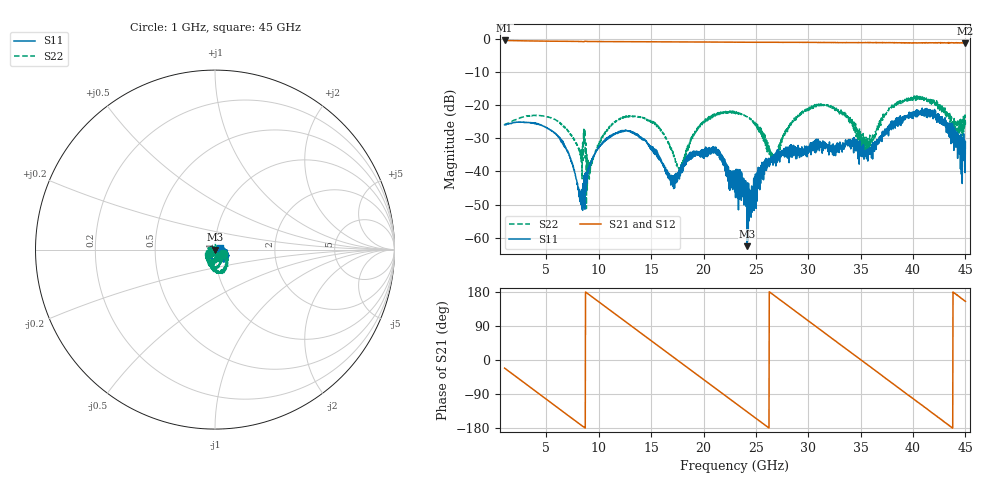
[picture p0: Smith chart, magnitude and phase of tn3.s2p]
!Keysight Technologies,N5247B,MY61255062,A.19.80.06
!Date: Thursday, May 21, 2026 12:36:28
!Correction: S11(Cdelta 2-Port  )
!S21(Cdelta 2-Port  )
!S12(Cdelta 2-Port  )
!S22(Cdelta 2-Port  )
!S2P File: Measurements: S11, S21, S12, S22:
# Hz S  dB  R 50
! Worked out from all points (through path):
!   1601 points, 1 GHz to 45 GHz, reference 50 ohm
!   highest |S21| = -0.47 dB at 1 GHz (marker M1); lowest = -1.3 dB at 44.95 GHz (marker M2)
!   group delay of S21, straight-line fit = 57 ps
!   lowest |S11| = -62.5 dB at 24.16 GHz (marker M3), VSWR 1.00, Z = 50 - j0.0746 ohm
!   |S11| at or under -10 dB: start of sweep to end of sweep
!   |S22| runs from -51.2 to -17.2 dB; largest |S21 - S12| = 0.014
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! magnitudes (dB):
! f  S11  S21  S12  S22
! 1 GHz  -25.9  -0.5  -0.5  -25.7
! 5.895 GHz  -28.7  -0.7  -0.7  -24.5
! 8.342 GHz  -48.7  -0.8  -0.8  -33.5
! 9.03 GHz  -39.5  -0.8  -0.8  -37.3
! 11.45 GHz  -28.7  -0.8  -0.8  -25.4
! 13.48 GHz  -28.9  -0.9  -0.9  -23.4
! 15.69 GHz  -35.0  -0.9  -0.9  -26.8
! 17 GHz  -41.4  -0.9  -0.9  -33.5
! 17.77 GHz  -41.3  -0.9  -0.9  -38.6
! 19.23 GHz  -35.3  -0.9  -0.9  -28.3
! 21.05 GHz  -34.3  -1.0  -1.0  -22.7
! 23 GHz  -40.3  -1.0  -1.0  -22.0
! 24.16 GHz  -62.5  -1.0  -1.0  -23.6
! 26.74 GHz  -36.6  -1.0  -1.0  -35.4
! 28.53 GHz  -35.3  -1.0  -1.0  -25.1
! 30.34 GHz  -33.8  -1.1  -1.1  -20.2
! 33.51 GHz  -32.6  -1.1  -1.1  -22.9
! 35.59 GHz  -33.5  -1.1  -1.1  -30.6
! 37.69 GHz  -27.2  -1.1  -1.1  -21.5
! 41.65 GHz  -23.5  -1.1  -1.2  -18.3
! 44.95 GHz  -32.0  -1.3  -1.2  -26.8
! 45 GHz  -31.1  -1.2  -1.2  -25.8
